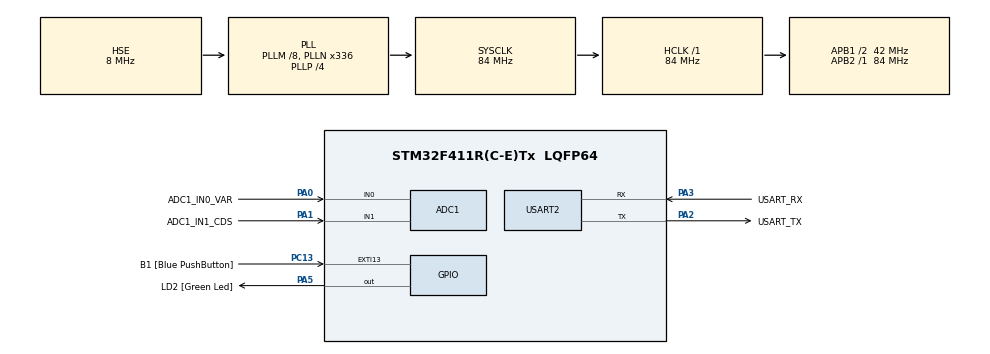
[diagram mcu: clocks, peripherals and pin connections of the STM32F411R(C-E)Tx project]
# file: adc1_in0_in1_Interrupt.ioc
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ADC1.Channel-0\#ChannelRegularConversion=ADC_CHANNEL_0
ADC1.Channel-1\#ChannelRegularConversion=ADC_CHANNEL_1
ADC1.ClockPrescaler=ADC_CLOCK_SYNC_PCLK_DIV6
ADC1.NbrOfConversion=2
ADC1.NbrOfConversionFlag=1
ADC1.Rank-0\#ChannelRegularConversion=1
ADC1.Rank-1\#ChannelRegularConversion=2
ADC1.SamplingTime-0\#ChannelRegularConversion=ADC_SAMPLETIME_28CYCLES
ADC1.SamplingTime-1\#ChannelRegularConversion=ADC_SAMPLETIME_28CYCLES
ADC1.ScanConvMode=ENABLE
ADC1.master=1
Mcu.Family=STM32F4
Mcu.Name=STM32F411R(C-E)Tx
Mcu.Package=LQFP64
NVIC.ADC_IRQn=true\:0\:0\:false\:false\:true\:true\:true\:true
NVIC.PriorityGroup=NVIC_PRIORITYGROUP_0
PA0-WKUP.GPIO_Label=ADC1_IN0_VAR
PA0-WKUP.Signal=ADCx_IN0
PA1.GPIO_Label=ADC1_IN1_CDS
PA1.Signal=ADCx_IN1
PA13.GPIO_Label=TMS
PA13.Mode=Serial_Wire
PA13.Signal=SYS_JTMS-SWDIO
PA14.GPIO_Label=TCK
PA14.Mode=Serial_Wire
PA14.Signal=SYS_JTCK-SWCLK
PA2.GPIO_Label=USART_TX
PA2.Mode=Asynchronous
PA2.Signal=USART2_TX
PA3.GPIO_Label=USART_RX
PA3.Mode=Asynchronous
PA3.Signal=USART2_RX
PA5.GPIO_Label=LD2 [Green Led]
PA5.Signal=GPIO_Output
PB3.GPIO_Label=SWO
PB3.Signal=SYS_JTDO-SWO
PC13-ANTI_TAMP.GPIO_Label=B1 [Blue PushButton]
PC13-ANTI_TAMP.GPIO_ModeDefaultEXTI=GPIO_MODE_IT_FALLING
PC13-ANTI_TAMP.Signal=GPXTI13
PC14-OSC32_IN.Signal=RCC_OSC32_IN
PC15-OSC32_OUT.Signal=RCC_OSC32_OUT
PH0\ -\ OSC_IN.Mode=HSE-External-Oscillator
PH0\ -\ OSC_IN.Signal=RCC_OSC_IN
PH1\ -\ OSC_OUT.Mode=HSE-External-Oscillator
PH1\ -\ OSC_OUT.Signal=RCC_OSC_OUT
ProjectManager.HeapSize=0x200
ProjectManager.StackSize=0x400
ProjectManager.TargetToolchain=STM32CubeIDE
RCC.48MHZClocksFreq_Value=84000000
RCC.AHBFreq_Value=84000000
RCC.APB1CLKDivider=RCC_HCLK_DIV2
RCC.APB1Freq_Value=42000000
RCC.APB1TimFreq_Value=84000000
RCC.APB2Freq_Value=84000000
RCC.APB2TimFreq_Value=84000000
RCC.CortexFreq_Value=84000000
RCC.FLatency-AdvancedSettings=FLASH_LATENCY_2
RCC.HCLKFreq_Value=84000000
RCC.HSE_VALUE=8000000
RCC.HSI_VALUE=16000000
RCC.PLLM=8
RCC.PLLN=336
RCC.PLLP=RCC_PLLP_DIV4
RCC.PLLSourceVirtual=RCC_PLLSOURCE_HSE
RCC.SYSCLKFreq_VALUE=84000000
RCC.SYSCLKSource=RCC_SYSCLKSOURCE_PLLCLK
RCC.VCOOutputFreq_Value=336000000
SH.ADCx_IN0.0=ADC1_IN0,IN0
SH.ADCx_IN1.0=ADC1_IN1,IN1
USART2.VirtualMode=VM_ASYNC
board=NUCLEO-F411RE

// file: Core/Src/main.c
/* USER CODE BEGIN Header */
/**
  ******************************************************************************
  * @file           : main.c
  * @brief          : Main program body
  ******************************************************************************
  * @attention
  *
  * Copyright (c) 2024 STMicroelectronics.
  * All rights reserved.
  *
  * This software is licensed under terms that can be found in the LICENSE file
  * in the root directory of this software component.
  * If no LICENSE file comes with this software, it is provided AS-IS.
  *
  ******************************************************************************
  */
/* USER CODE END Header */
#include "main.h"

/* USER CODE BEGIN PD */
#ifdef __GNUC__
/* With GCC, small printf (option LD Linker->Libraries->Small printf
   set to 'Yes') calls __io_putchar() */
#define PUTCHAR_PROTOTYPE int __io_putchar(int ch)
#else
#define PUTCHAR_PROTOTYPE int fputc(int ch, FILE *f)
#endif /* __GNUC__ */
/* USER CODE END PD */

ADC_HandleTypeDef hadc1;

UART_HandleTypeDef huart2;

/* USER CODE BEGIN PV */
__IO uint16_t ADCxConvertValue[2]={0};
__IO int adcFlag=0;
/* USER CODE END PV */

void SystemClock_Config(void);
static void MX_GPIO_Init(void);
static void MX_USART2_UART_Init(void);
static void MX_ADC1_Init(void);

int main(void)
{

  /* MCU Configuration--------------------------------------------------------*/

  /* Reset of all peripherals, Initializes the Flash interface and the Systick. */
  HAL_Init();

  /* Configure the system clock */
  SystemClock_Config();

  /* Initialize all configured peripherals */
  MX_GPIO_Init();
  MX_USART2_UART_Init();
  MX_ADC1_Init();
  /* USER CODE BEGIN 2 */
  printf("start main() - adc Interrupt\r\n");
  if(HAL_ADC_Start_IT(&hadc1) != HAL_OK)
  {
	  Error_Handler();
  }
  /* USER CODE END 2 */

  /* Infinite loop */
  /* USER CODE BEGIN WHILE */
  while (1)
  {
	  if(adcFlag)
	  {
		  adcFlag = 0;
		  printf("VAR=%4d, CDS=%4d\r\n",ADCxConvertValue[0],ADCxConvertValue[1]);
		  if(HAL_ADC_Start_IT(&hadc1) != HAL_OK)
		  {
			  Error_Handler();
		  }
	  }
//	  HAL_Delay(500);
    /* USER CODE END WHILE */

  }
}

void SystemClock_Config(void)
{
  RCC_OscInitTypeDef RCC_OscInitStruct = {0};
  RCC_ClkInitTypeDef RCC_ClkInitStruct = {0};

  /** Configure the main internal regulator output voltage
  */
  __HAL_RCC_PWR_CLK_ENABLE();
  __HAL_PWR_VOLTAGESCALING_CONFIG(PWR_REGULATOR_VOLTAGE_SCALE1);

  /** Initializes the RCC Oscillators according to the specified parameters
  * in the RCC_OscInitTypeDef structure.
  */
  RCC_OscInitStruct.OscillatorType = RCC_OSCILLATORTYPE_HSE;
  RCC_OscInitStruct.HSEState = RCC_HSE_ON;
  RCC_OscInitStruct.PLL.PLLState = RCC_PLL_ON;
  RCC_OscInitStruct.PLL.PLLSource = RCC_PLLSOURCE_HSE;
  RCC_OscInitStruct.PLL.PLLM = 8;
  RCC_OscInitStruct.PLL.PLLN = 336;
  RCC_OscInitStruct.PLL.PLLP = RCC_PLLP_DIV4;
  RCC_OscInitStruct.PLL.PLLQ = 4;
  if (HAL_RCC_OscConfig(&RCC_OscInitStruct) != HAL_OK)
  {
    Error_Handler();
  }

  /** Initializes the CPU, AHB and APB buses clocks
  */
  RCC_ClkInitStruct.ClockType = RCC_CLOCKTYPE_HCLK|RCC_CLOCKTYPE_SYSCLK
                              |RCC_CLOCKTYPE_PCLK1|RCC_CLOCKTYPE_PCLK2;
  RCC_ClkInitStruct.SYSCLKSource = RCC_SYSCLKSOURCE_PLLCLK;
  RCC_ClkInitStruct.AHBCLKDivider = RCC_SYSCLK_DIV1;
  RCC_ClkInitStruct.APB1CLKDivider = RCC_HCLK_DIV2;
  RCC_ClkInitStruct.APB2CLKDivider = RCC_HCLK_DIV1;

  if (HAL_RCC_ClockConfig(&RCC_ClkInitStruct, FLASH_LATENCY_2) != HAL_OK)
  {
    Error_Handler();
  }
}

static void MX_ADC1_Init(void)
{

  ADC_ChannelConfTypeDef sConfig = {0};

  /** Configure the global features of the ADC (Clock, Resolution, Data Alignment and number of conversion)
  */
  hadc1.Instance = ADC1;
  hadc1.Init.ClockPrescaler = ADC_CLOCK_SYNC_PCLK_DIV6;
  hadc1.Init.Resolution = ADC_RESOLUTION_12B;
  hadc1.Init.ScanConvMode = ENABLE;
  hadc1.Init.ContinuousConvMode = DISABLE;
  hadc1.Init.DiscontinuousConvMode = DISABLE;
  hadc1.Init.ExternalTrigConvEdge = ADC_EXTERNALTRIGCONVEDGE_NONE;
  hadc1.Init.ExternalTrigConv = ADC_SOFTWARE_START;
  hadc1.Init.DataAlign = ADC_DATAALIGN_RIGHT;
  hadc1.Init.NbrOfConversion = 2;
  hadc1.Init.DMAContinuousRequests = DISABLE;
  hadc1.Init.EOCSelection = ADC_EOC_SINGLE_CONV;
  if (HAL_ADC_Init(&hadc1) != HAL_OK)
  {
    Error_Handler();
  }

  /** Configure for the selected ADC regular channel its corresponding rank in the sequencer and its sample time.
  */
  sConfig.Channel = ADC_CHANNEL_0;
  sConfig.Rank = 1;
  sConfig.SamplingTime = ADC_SAMPLETIME_28CYCLES;
  if (HAL_ADC_ConfigChannel(&hadc1, &sConfig) != HAL_OK)
  {
    Error_Handler();
  }

  /** Configure for the selected ADC regular channel its corresponding rank in the sequencer and its sample time.
  */
  sConfig.Channel = ADC_CHANNEL_1;
  sConfig.Rank = 2;
  if (HAL_ADC_ConfigChannel(&hadc1, &sConfig) != HAL_OK)
  {
    Error_Handler();
  }

}

static void MX_USART2_UART_Init(void)
{

  huart2.Instance = USART2;
  huart2.Init.BaudRate = 115200;
  huart2.Init.WordLength = UART_WORDLENGTH_8B;
  huart2.Init.StopBits = UART_STOPBITS_1;
  huart2.Init.Parity = UART_PARITY_NONE;
  huart2.Init.Mode = UART_MODE_TX_RX;
  huart2.Init.HwFlowCtl = UART_HWCONTROL_NONE;
  huart2.Init.OverSampling = UART_OVERSAMPLING_16;
  if (HAL_UART_Init(&huart2) != HAL_OK)
  {
    Error_Handler();
  }

}

static void MX_GPIO_Init(void)
{
  GPIO_InitTypeDef GPIO_InitStruct = {0};

  /* GPIO Ports Clock Enable */
  __HAL_RCC_GPIOC_CLK_ENABLE();
  __HAL_RCC_GPIOH_CLK_ENABLE();
  __HAL_RCC_GPIOA_CLK_ENABLE();
  __HAL_RCC_GPIOB_CLK_ENABLE();

  /*Configure GPIO pin Output Level */
  HAL_GPIO_WritePin(LD2_GPIO_Port, LD2_Pin, GPIO_PIN_RESET);

  /*Configure GPIO pin : B1_Pin */
  GPIO_InitStruct.Pin = B1_Pin;
  GPIO_InitStruct.Mode = GPIO_MODE_IT_FALLING;
  GPIO_InitStruct.Pull = GPIO_NOPULL;
  HAL_GPIO_Init(B1_GPIO_Port, &GPIO_InitStruct);

  /*Configure GPIO pin : LD2_Pin */
  GPIO_InitStruct.Pin = LD2_Pin;
  GPIO_InitStruct.Mode = GPIO_MODE_OUTPUT_PP;
  GPIO_InitStruct.Pull = GPIO_NOPULL;
  GPIO_InitStruct.Speed = GPIO_SPEED_FREQ_LOW;
  HAL_GPIO_Init(LD2_GPIO_Port, &GPIO_InitStruct);

}

/* USER CODE BEGIN 4 */
/**
  * @brief  Retargets the C library printf function to the USART.
  * @param  None
  * @retval None
  */
PUTCHAR_PROTOTYPE
{
  /* Place your implementation of fputc here */
  /* e.g. write a character to the USART6 and Loop until the end of transmission */
  HAL_UART_Transmit(&huart2, (uint8_t *)&ch, 1, 0xFFFF);

  return ch;
}
void HAL_ADC_ConvCpltCallback(ADC_HandleTypeDef *AdcHandle)
{
	static int ch=0;

	if(ch == 0)
	{
		ADCxConvertValue[ch] = HAL_ADC_GetValue(AdcHandle);
		ch = 1;
	}
	else if(ch == 1)
	{
		ADCxConvertValue[ch] = HAL_ADC_GetValue(AdcHandle);
		ch = 0;
		adcFlag = 1;
	}
}
/* USER CODE END 4 */

void Error_Handler(void)
{
  __disable_irq();
  while (1)
  {
  }
}
